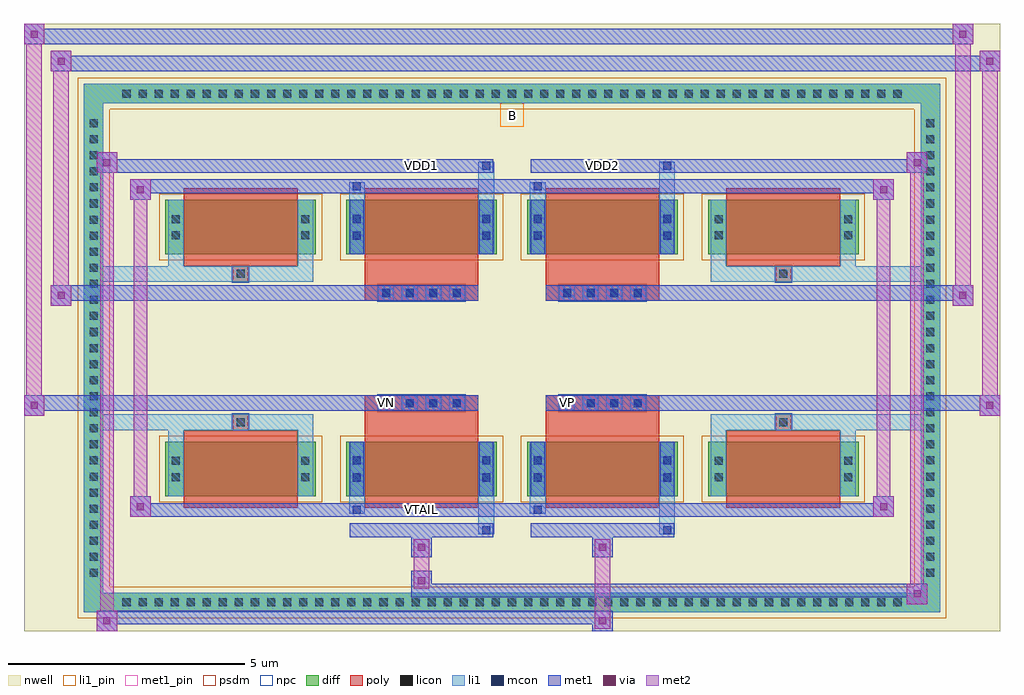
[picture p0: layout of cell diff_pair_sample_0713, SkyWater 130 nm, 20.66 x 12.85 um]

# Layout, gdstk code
import gdstk
lib = gdstk.Library(unit=1e-6, precision=5e-09)
def R(c, l, rs):  # rectangles x0, y0, x1, y1
    for r in rs: c.add(gdstk.rectangle(r[:2], r[2:], *l))
def A(c, l, x, y, w, h, nx, ny, dx, dy):  # array of equal rectangles
    R(c, l, [(x+i*dx, y+j*dy, x+i*dx+w, y+j*dy+h) for i in range(nx) for j in range(ny)])
def P(c, l, *ps):  # polygons
    for p in ps: c.add(gdstk.Polygon(p, *l))
nwell = (64, 20)
diff = (65, 20)
poly = (66, 20)
licon = (66, 44)
li1_pin = (67, 16)
li1 = (67, 20)
mcon = (67, 44)
met1_pin = (68, 16)
met1 = (68, 20)
via = (68, 44)
met2 = (69, 20)
psdm = (94, 20)
npc = (95, 20)

diff_pair_sample_0713 = lib.new_cell('diff_pair_sample_0713')
R(diff_pair_sample_0713, nwell, [(-10.33,-5.99,10.33,6.86), (-7.65,-4.18,-0.01,-0.8), (0.01,-4.18,7.65,-0.8), (-7.65,0.8,-0.01,4.18), (0.01,0.8,7.65,4.18)])
A(diff_pair_sample_0713, diff, -8.365, -5.59, 0.41, 0.41, 49, 2, 0.34, 10.77)
A(diff_pair_sample_0713, diff, -9.06, -4.965, 0.41, 0.41, 1, 29, 0, 0.34)
A(diff_pair_sample_0713, diff, 8.65, -4.965, 0.41, 0.41, 1, 29, 0, 0.34)
A(diff_pair_sample_0713, diff, -7.34, -3.135, 3.19, 1.15, 4, 2, 3.83, 5.12)
R(diff_pair_sample_0713, diff, [(-8.365,-5.59,8.365,-5.18), (-9.06,-4.965,-8.65,4.965), (8.65,-4.965,9.06,4.965), (-8.365,5.18,8.365,5.59)])
P(diff_pair_sample_0713, diff, [(9.06,5.59),(-9.06,5.59),(-9.06,-5.18),(-8.65,-5.18),(-8.65,5.18),(8.65,5.18),(8.65,-5.18),(-8.65,-5.18),(-9.06,-5.18),(-9.06,-5.59),(9.06,-5.59)])
A(diff_pair_sample_0713, poly, -6.95, -3.385, 2.41, 1.65, 4, 2, 3.83, 5.12)
A(diff_pair_sample_0713, poly, -2.83, -1.33, 0.33, 0.33, 4, 2, 0.5, 2.33)
A(diff_pair_sample_0713, poly, 1, -1.33, 0.33, 0.33, 4, 2, 0.5, 2.33)
R(diff_pair_sample_0713, poly, [(-5.91,-1.735,-5.58,-1.405), (-5.91,-1.735,-5.58,-1.405), (-3.12,-1.735,-0.71,-1.33), (0.71,-1.735,3.12,-1.33), (5.58,-1.735,5.91,-1.405), (5.58,-1.735,5.91,-1.405), (-3.12,-1.33,-0.71,-1), (0.71,-1.33,3.12,-1), (-3.12,1,-0.71,1.33), (0.71,1,3.12,1.33), (-3.12,1.33,-0.71,1.735), (0.71,1.33,3.12,1.735), (-5.91,1.405,-5.58,1.735), (-5.91,1.405,-5.58,1.735), (5.58,1.405,5.91,1.735), (5.58,1.405,5.91,1.735)])
A(diff_pair_sample_0713, licon, -8.245, -5.47, 0.17, 0.17, 49, 2, 0.34, 10.77)
A(diff_pair_sample_0713, licon, -8.94, -4.845, 0.17, 0.17, 1, 29, 0, 0.34)
A(diff_pair_sample_0713, licon, 8.77, -4.845, 0.17, 0.17, 1, 29, 0, 0.34)
A(diff_pair_sample_0713, licon, -2.75, -1.25, 0.17, 0.17, 4, 2, 0.5, 2.33)
A(diff_pair_sample_0713, licon, 1.08, -1.25, 0.17, 0.17, 4, 2, 0.5, 2.33)
R(diff_pair_sample_0713, licon, [(-7.2,-2.815,-7.03,-2.645), (-4.46,-2.815,-4.29,-2.645), (-3.37,-2.815,-3.2,-2.645), (-0.63,-2.815,-0.46,-2.645), (0.46,-2.815,0.63,-2.645), (3.2,-2.815,3.37,-2.645), (4.29,-2.815,4.46,-2.645), (7.03,-2.815,7.2,-2.645), (-7.2,-2.475,-7.03,-2.305), (-4.46,-2.475,-4.29,-2.305), (-3.37,-2.475,-3.2,-2.305), (-0.63,-2.475,-0.46,-2.305), (0.46,-2.475,0.63,-2.305), (3.2,-2.475,3.37,-2.305), (4.29,-2.475,4.46,-2.305), (7.03,-2.475,7.2,-2.305), (-5.83,-1.655,-5.66,-1.485), (5.66,-1.655,5.83,-1.485), (-5.83,1.485,-5.66,1.655), (5.66,1.485,5.83,1.655), (-7.2,2.305,-7.03,2.475), (-4.46,2.305,-4.29,2.475), (-3.37,2.305,-3.2,2.475), (-0.63,2.305,-0.46,2.475), (0.46,2.305,0.63,2.475), (3.2,2.305,3.37,2.475), (4.29,2.305,4.46,2.475), (7.03,2.305,7.2,2.475), (-7.2,2.645,-7.03,2.815), (-4.46,2.645,-4.29,2.815), (-3.37,2.645,-3.2,2.815), (-0.63,2.645,-0.46,2.815), (0.46,2.645,0.63,2.815), (3.2,2.645,3.37,2.815), (4.29,2.645,4.46,2.815), (7.03,2.645,7.2,2.815)])
R(diff_pair_sample_0713, li1_pin, [(-0.25,4.68,0.25,5.18)])
A(diff_pair_sample_0713, li1, -8.325, -5.55, 0.33, 0.33, 49, 2, 0.34, 10.77)
A(diff_pair_sample_0713, li1, -9.02, -4.925, 0.33, 0.33, 1, 29, 0, 0.34)
A(diff_pair_sample_0713, li1, 8.69, -4.925, 0.33, 0.33, 1, 29, 0, 0.34)
A(diff_pair_sample_0713, li1, -2.83, -1.33, 0.33, 0.33, 4, 2, 0.5, 2.33)
A(diff_pair_sample_0713, li1, 1, -1.33, 0.33, 0.33, 4, 2, 0.5, 2.33)
R(diff_pair_sample_0713, li1, [(-9.06,-5.59,-8.65,-5.18), (-9.06,-5.59,-8.65,-5.18), (-8.65,-5.59,8.65,-5.18), (8.65,-5.59,9.06,-5.18), (8.65,-5.59,9.06,-5.18), (-9.06,-5.18,-8.65,5.18), (8.65,-5.18,9.06,5.18), (-0.71,-3.94,-0.38,-3.135), (-0.63,-3.94,-0.46,-3.77), (3.12,-3.94,3.45,-3.135), (3.2,-3.94,3.37,-3.77), (-3.45,-3.51,-3.12,-3.135), (-3.37,-3.51,-3.2,-3.34), (0.38,-3.51,0.71,-3.135), (0.46,-3.51,0.63,-3.34), (-7.28,-3.135,-6.95,-1.985), (-4.54,-3.135,-4.21,-1.985), (-3.45,-3.135,-3.12,-1.985), (-0.71,-3.135,-0.38,-1.985), (0.38,-3.135,0.71,-1.985), (3.12,-3.135,3.45,-1.985), (4.21,-3.135,4.54,-1.985), (6.95,-3.135,7.28,-1.985), (-7.28,-2.895,-6.95,-2.565), (-4.54,-2.895,-4.21,-2.565), (-3.45,-2.895,-3.12,-2.565), (-0.71,-2.895,-0.38,-2.565), (0.38,-2.895,0.71,-2.565), (3.12,-2.895,3.45,-2.565), (4.21,-2.895,4.54,-2.565), (6.95,-2.895,7.28,-2.565), (-3.37,-2.825,-3.2,-2.655), (-3.37,-2.825,-3.2,-2.295), (-0.63,-2.825,-0.46,-2.655), (-0.63,-2.825,-0.46,-2.295), (0.46,-2.825,0.63,-2.655), (0.46,-2.825,0.63,-2.295), (3.2,-2.825,3.37,-2.655), (3.2,-2.825,3.37,-2.295), (-7.28,-2.555,-6.95,-2.225), (-4.54,-2.555,-4.21,-2.225), (-3.45,-2.555,-3.12,-2.225), (-0.71,-2.555,-0.38,-2.225), (0.38,-2.555,0.71,-2.225), (3.12,-2.555,3.45,-2.225), (4.21,-2.555,4.54,-2.225), (6.95,-2.555,7.28,-2.225), (-3.37,-2.465,-3.2,-2.295), (-0.63,-2.465,-0.46,-2.295), (0.46,-2.465,0.63,-2.295), (3.2,-2.465,3.37,-2.295), (-7.28,-1.985,-6.95,-1.405), (-4.54,-1.985,-4.21,-1.405), (4.21,-1.985,4.54,-1.405), (6.95,-1.985,7.28,-1.405), (-9.06,-1.735,-5.91,-1.405), (-7.28,-1.735,-5.91,-1.405), (-5.91,-1.735,-5.58,-1.405), (-5.58,-1.735,-4.21,-1.405), (4.21,-1.735,5.58,-1.405), (5.58,-1.735,5.91,-1.405), (5.58,-1.735,9.06,-1.405), (5.91,-1.735,7.28,-1.405), (-9.06,1.405,-5.91,1.735), (-7.28,1.405,-5.91,1.735), (-7.28,1.405,-6.95,1.985), (-5.91,1.405,-5.58,1.735), (-5.58,1.405,-4.21,1.735), (-4.54,1.405,-4.21,1.985), (4.21,1.405,5.58,1.735), (4.21,1.405,4.54,1.985), (5.58,1.405,5.91,1.735), (5.58,1.405,9.06,1.735), (5.91,1.405,7.28,1.735), (6.95,1.405,7.28,1.985), (-7.28,1.985,-6.95,3.135), (-4.54,1.985,-4.21,3.135), (-3.45,1.985,-3.12,3.135), (-0.71,1.985,-0.38,3.135), (0.38,1.985,0.71,3.135), (3.12,1.985,3.45,3.135), (4.21,1.985,4.54,3.135), (6.95,1.985,7.28,3.135), (-7.28,2.225,-6.95,2.555), (-4.54,2.225,-4.21,2.555), (-3.45,2.225,-3.12,2.555), (-0.71,2.225,-0.38,2.555), (0.38,2.225,0.71,2.555), (3.12,2.225,3.45,2.555), (4.21,2.225,4.54,2.555), (6.95,2.225,7.28,2.555), (-3.37,2.295,-3.2,2.465), (-3.37,2.295,-3.2,2.825), (-0.63,2.295,-0.46,2.465), (-0.63,2.295,-0.46,2.825), (0.46,2.295,0.63,2.465), (0.46,2.295,0.63,2.825), (3.2,2.295,3.37,2.465), (3.2,2.295,3.37,2.825), (-7.28,2.565,-6.95,2.895), (-4.54,2.565,-4.21,2.895), (-3.45,2.565,-3.12,2.895), (-0.71,2.565,-0.38,2.895), (0.38,2.565,0.71,2.895), (3.12,2.565,3.45,2.895), (4.21,2.565,4.54,2.895), (6.95,2.565,7.28,2.895), (-3.37,2.655,-3.2,2.825), (-0.63,2.655,-0.46,2.825), (0.46,2.655,0.63,2.825), (3.2,2.655,3.37,2.825), (-3.45,3.135,-3.12,3.51), (-0.71,3.135,-0.38,3.94), (0.38,3.135,0.71,3.51), (3.12,3.135,3.45,3.94), (-3.37,3.34,-3.2,3.51), (0.46,3.34,0.63,3.51), (-0.63,3.77,-0.46,3.94), (3.2,3.77,3.37,3.94), (-9.06,5.18,-8.65,5.59), (-9.06,5.18,-8.65,5.59), (-8.65,5.18,8.65,5.59), (8.65,5.18,9.06,5.59), (8.65,5.18,9.06,5.59)])
A(diff_pair_sample_0713, mcon, -2.75, -1.25, 0.17, 0.17, 4, 2, 0.5, 2.33)
A(diff_pair_sample_0713, mcon, 1.08, -1.25, 0.17, 0.17, 4, 2, 0.5, 2.33)
R(diff_pair_sample_0713, mcon, [(-0.63,-3.94,-0.46,-3.77), (3.2,-3.94,3.37,-3.77), (-3.37,-3.51,-3.2,-3.34), (0.46,-3.51,0.63,-3.34), (-3.37,-2.825,-3.2,-2.655), (-0.63,-2.825,-0.46,-2.655), (0.46,-2.825,0.63,-2.655), (3.2,-2.825,3.37,-2.655), (-3.37,-2.465,-3.2,-2.295), (-0.63,-2.465,-0.46,-2.295), (0.46,-2.465,0.63,-2.295), (3.2,-2.465,3.37,-2.295), (-3.37,2.295,-3.2,2.465), (-0.63,2.295,-0.46,2.465), (0.46,2.295,0.63,2.465), (3.2,2.295,3.37,2.465), (-3.37,2.655,-3.2,2.825), (-0.63,2.655,-0.46,2.825), (0.46,2.655,0.63,2.825), (3.2,2.655,3.37,2.825), (-3.37,3.34,-3.2,3.51), (0.46,3.34,0.63,3.51), (-0.63,3.77,-0.46,3.94), (3.2,3.77,3.37,3.94)])
R(diff_pair_sample_0713, met1_pin, [(-2.05,-3.55,-1.78,-3.28), (-2.8,-1.29,-2.53,-1.02), (1.03,-1.29,1.3,-1.02), (-2.05,3.73,-1.78,4), (1.78,3.73,2.05,4)])
A(diff_pair_sample_0713, met1, -2.81, -1.31, 0.29, 0.29, 4, 2, 0.5, 2.33)
A(diff_pair_sample_0713, met1, 1.02, -1.31, 0.29, 0.29, 4, 2, 0.5, 2.33)
R(diff_pair_sample_0713, met1, [(-8.79,-5.99,-8.36,-5.56), (1.7,-5.99,2.13,-5.56), (-8.79,-5.85,2.13,-5.56), (8.36,-5.42,8.79,-4.99), (-2.13,-5.28,8.79,-4.99), (-2.13,-5.14,-1.7,-4.71), (-2.13,-4.43,-1.7,-4), (1.7,-4.43,2.13,-4), (-3.43,-4,-0.4,-3.71), (-0.69,-4,-0.4,-3.71), (0.4,-4,3.43,-3.71), (3.14,-4,3.43,-3.71), (-8.08,-3.57,-7.65,-3.14), (-8.08,-3.57,-3.43,-3.28), (-3.43,-3.57,-3.14,-3.28), (-3.43,-3.57,-0.4,-3.28), (-0.4,-3.57,0.4,-3.28), (0.4,-3.57,0.69,-3.28), (0.4,-3.57,3.43,-3.28), (3.43,-3.57,8.08,-3.28), (7.65,-3.57,8.08,-3.14), (-3.43,-3.135,-3.14,-1.985), (-0.69,-3.135,-0.4,-1.985), (0.4,-3.135,0.69,-1.985), (3.14,-3.135,3.43,-1.985), (-3.43,-2.885,-3.14,-2.595), (-0.69,-2.885,-0.4,-2.595), (0.4,-2.885,0.69,-2.595), (3.14,-2.885,3.43,-2.595), (-3.43,-2.525,-3.14,-2.235), (-0.69,-2.525,-0.4,-2.235), (0.4,-2.525,0.69,-2.235), (3.14,-2.525,3.43,-2.235), (-10.33,-1.43,-9.9,-1), (9.9,-1.43,10.33,-1), (-10.33,-1.33,-0.71,-1), (-3.12,-1.33,-0.71,-1), (0.71,-1.33,3.12,-1), (0.71,-1.33,10.33,-1), (-9.76,0.9,-9.33,1.33), (9.33,0.9,9.76,1.33), (-9.76,1,-3.12,1.33), (-3.12,1,-0.71,1.33), (0.71,1,3.12,1.33), (3.12,1,9.76,1.33), (-3.43,1.985,-3.14,3.135), (-0.69,1.985,-0.4,3.135), (0.4,1.985,0.69,3.135), (3.14,1.985,3.43,3.135), (-3.43,2.235,-3.14,2.525), (-0.69,2.235,-0.4,2.525), (0.4,2.235,0.69,2.525), (3.14,2.235,3.43,2.525), (-3.43,2.595,-3.14,2.885), (-0.69,2.595,-0.4,2.885), (0.4,2.595,0.69,2.885), (3.14,2.595,3.43,2.885), (-8.08,3.14,-7.65,3.57), (7.65,3.14,8.08,3.57), (-8.08,3.28,-3.43,3.57), (-3.43,3.28,-3.14,3.57), (-3.43,3.28,-0.4,3.57), (-0.4,3.28,0.4,3.57), (0.4,3.28,0.69,3.57), (0.4,3.28,3.43,3.57), (3.43,3.28,8.08,3.57), (-8.79,3.71,-8.36,4.14), (-8.79,3.71,-3.43,4), (-3.43,3.71,-0.4,4), (-0.69,3.71,-0.4,4), (0.4,3.71,3.43,4), (3.14,3.71,3.43,4), (3.43,3.71,8.79,4), (8.36,3.71,8.79,4.14), (-9.76,5.86,-9.33,6.29), (-9.76,5.86,-7.65,6.19), (-7.65,5.86,7.65,6.19), (7.65,5.86,10.33,6.19), (9.9,5.86,10.33,6.29), (-10.33,6.43,-9.9,6.86), (-10.33,6.43,-7.65,6.76), (-7.65,6.43,7.65,6.76), (7.65,6.43,9.76,6.76), (9.33,6.43,9.76,6.86)])
R(diff_pair_sample_0713, via, [(-8.65,-5.85,-8.5,-5.7), (1.84,-5.85,1.99,-5.7), (8.5,-5.28,8.65,-5.13), (-1.99,-5,-1.84,-4.85), (-1.99,-4.29,-1.84,-4.14), (1.84,-4.29,1.99,-4.14), (-7.94,-3.43,-7.79,-3.28), (7.79,-3.43,7.94,-3.28), (-10.19,-1.29,-10.04,-1.14), (10.04,-1.29,10.19,-1.14), (-9.62,1.04,-9.47,1.19), (9.47,1.04,9.62,1.19), (-7.94,3.28,-7.79,3.43), (7.79,3.28,7.94,3.43), (-8.65,3.85,-8.5,4), (8.5,3.85,8.65,4), (-9.62,6,-9.47,6.15), (10.04,6,10.19,6.15), (-10.19,6.57,-10.04,6.72), (9.47,6.57,9.62,6.72)])
R(diff_pair_sample_0713, met2, [(-8.79,-5.99,-8.36,-5.56), (-8.72,-5.99,-8.43,4.14), (-8.43,-5.99,-8.36,-5.56), (-8.74,-5.94,-8.41,-5.61), (1.75,-5.94,2.08,-5.61), (1.75,-5.61,2.08,-4.38), (8.36,-5.42,8.79,-4.99), (8.43,-5.42,8.72,4.14), (8.72,-5.42,8.79,-4.99), (8.41,-5.37,8.74,-5.04), (-2.08,-5.09,-1.75,-4.76), (-2.08,-4.76,-1.75,-4.38), (-2.08,-4.38,-1.75,-4.05), (1.75,-4.38,2.08,-4.05), (-8.08,-3.57,-7.65,-3.14), (-8.01,-3.57,-7.72,3.57), (-7.72,-3.57,-7.65,-3.14), (7.65,-3.57,8.08,-3.14), (7.72,-3.57,8.01,3.57), (8.01,-3.57,8.08,-3.14), (-8.03,-3.52,-7.7,-3.19), (7.7,-3.52,8.03,-3.19), (-10.33,-1.43,-9.9,-1), (-10.28,-1.43,-9.95,6.86), (-9.95,-1.43,-9.9,-1), (9.9,-1.43,10.33,-1), (9.95,-1.43,10.28,6.29), (10.28,-1.43,10.33,-1), (-10.28,-1.38,-9.95,-1.05), (9.95,-1.38,10.28,-1.05), (-9.76,0.9,-9.33,1.33), (-9.71,0.9,-9.38,6.29), (-9.38,0.9,-9.33,1.33), (9.33,0.9,9.76,1.33), (9.38,0.9,9.71,6.86), (9.71,0.9,9.76,1.33), (-9.71,0.95,-9.38,1.28), (9.38,0.95,9.71,1.28), (-8.08,3.14,-7.65,3.57), (-7.72,3.14,-7.65,3.57), (7.65,3.14,8.08,3.57), (8.01,3.14,8.08,3.57), (-8.03,3.19,-7.7,3.52), (7.7,3.19,8.03,3.52), (-8.79,3.71,-8.36,4.14), (-8.43,3.71,-8.36,4.14), (8.36,3.71,8.79,4.14), (8.72,3.71,8.79,4.14), (-8.74,3.76,-8.41,4.09), (8.41,3.76,8.74,4.09), (-9.76,5.86,-9.33,6.29), (-9.38,5.86,-9.33,6.29), (9.9,5.86,10.33,6.29), (10.28,5.86,10.33,6.29), (-9.71,5.91,-9.38,6.24), (9.95,5.91,10.28,6.24), (-10.33,6.43,-9.9,6.86), (-9.95,6.43,-9.9,6.86), (9.33,6.43,9.76,6.86), (9.71,6.43,9.76,6.86), (-10.28,6.48,-9.95,6.81), (9.38,6.48,9.71,6.81)])
A(diff_pair_sample_0713, psdm, -7.47, -3.265, 3.45, 1.41, 4, 2, 3.83, 5.12)
P(diff_pair_sample_0713, psdm, [(9.19,5.72),(-9.19,5.72),(-9.19,-5.05),(-8.52,-5.05),(-8.52,5.05),(8.52,5.05),(8.52,-5.05),(-8.52,-5.05),(-9.19,-5.05),(-9.19,-5.72),(9.19,-5.72)])
A(diff_pair_sample_0713, npc, -2.85, -1.35, 0.37, 0.37, 4, 2, 0.5, 2.33)
A(diff_pair_sample_0713, npc, 0.98, -1.35, 0.37, 0.37, 4, 2, 0.5, 2.33)
R(diff_pair_sample_0713, npc, [(-5.93,-1.755,-5.56,-1.385), (5.56,-1.755,5.93,-1.385), (-2.85,-1.35,-1.98,-0.98), (-2.85,-1.35,-1.98,-0.98), (-2.35,-1.35,-1.48,-0.98), (-2.35,-1.35,-1.48,-0.98), (-1.85,-1.35,-0.98,-0.98), (-1.85,-1.35,-0.98,-0.98), (0.98,-1.35,1.85,-0.98), (0.98,-1.35,1.85,-0.98), (1.48,-1.35,2.35,-0.98), (1.48,-1.35,2.35,-0.98), (1.98,-1.35,2.85,-0.98), (1.98,-1.35,2.85,-0.98), (-2.85,0.98,-1.98,1.35), (-2.85,0.98,-1.98,1.35), (-2.35,0.98,-1.48,1.35), (-2.35,0.98,-1.48,1.35), (-1.85,0.98,-0.98,1.35), (-1.85,0.98,-0.98,1.35), (0.98,0.98,1.85,1.35), (0.98,0.98,1.85,1.35), (1.48,0.98,2.35,1.35), (1.48,0.98,2.35,1.35), (1.98,0.98,2.85,1.35), (1.98,0.98,2.85,1.35), (-5.93,1.385,-5.56,1.755), (5.56,1.385,5.93,1.755)])
diff_pair_sample_0713.add(gdstk.Label('VTAIL', (-1.915,-3.415), layer=68, texttype=5))
diff_pair_sample_0713.add(gdstk.Label('VN', (-2.665,-1.155), layer=68, texttype=5))
diff_pair_sample_0713.add(gdstk.Label('VP', (1.165,-1.155), layer=68, texttype=5))
diff_pair_sample_0713.add(gdstk.Label('B', (0,4.93), layer=67, texttype=5))
diff_pair_sample_0713.add(gdstk.Label('VDD2', (1.915,3.865), layer=68, texttype=5))
diff_pair_sample_0713.add(gdstk.Label('VDD1', (-1.915,3.865), layer=68, texttype=5))

lib.write_gds('diff_pair_sample_0713.gds')
